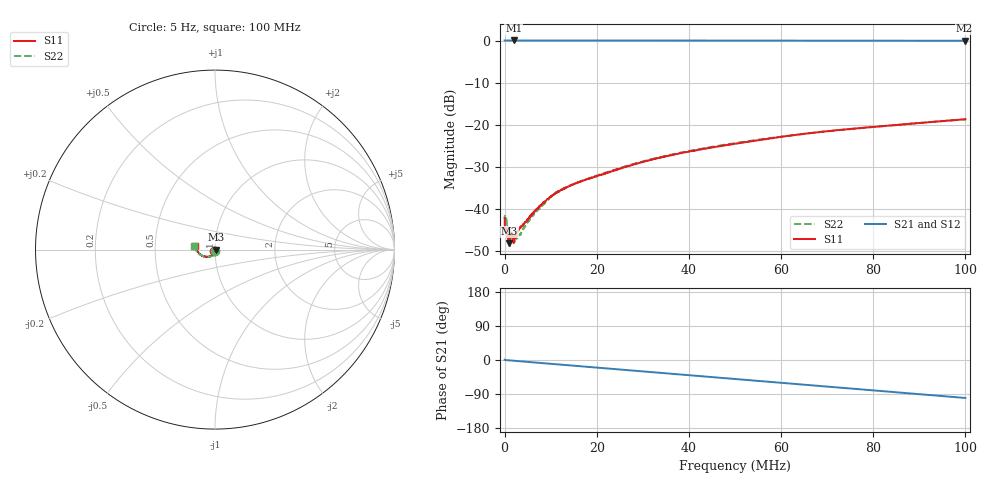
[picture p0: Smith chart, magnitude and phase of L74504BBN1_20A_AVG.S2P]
!Agilent Technologies,E5061B,MY49102235,A.02.00
!Date: Tue Jul 11 15:05:07 2023
!Data & Calibration Information:
!Freq	S11:SOLT2(ON)	S21:SOLT2(ON)	S12:SOLT2(ON)	S22:SOLT2(ON)
# Hz S RI R 50
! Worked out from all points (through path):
!   1600 points, 5 Hz to 100 MHz, reference 50 ohm
!   highest |S21| = 0.02 dB at 2.001 MHz (marker M1); lowest = -0.1 dB at 99.81 MHz (marker M2)
!   group delay of S21, straight-line fit = 2.78 ns
!   lowest |S11| = -48.2 dB at 1.001 MHz (marker M3), VSWR 1.01, Z = 50.4 - j0.0793 ohm
!   |S11| at or under -10 dB: start of sweep to end of sweep
!   |S22| runs from -48.9 to -18.7 dB; largest |S21 - S12| = 0.0026
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5  -0.00525 -0.00565  1.001 0.00803  1 0.0102  -0.00151 -0.00754
437778.6  0.00511 -0.000612  1.001 -0.00529  1.001 -0.00603  0.00661 -0.00225
625395.8  0.00507 -0.000637  1.002 -0.0104  1.002 -0.01  0.0061 -0.00103
1000630  0.0038 -0.000787  1.001 -0.0164  1.001 -0.0161  0.00516 -0.0017
1563482  0.00436 -0.00292  1.001 -0.0262  1.001 -0.0255  0.00316 -0.0035
2001256  0.00304 -0.00285  1.002 -0.0349  1.001 -0.0346  0.00317 -0.00256
2376490  0.00332 -0.00301  0.9998 -0.0412  1 -0.0415  0.00394 -0.00268
3252037  0.00425 -0.00423  0.9994 -0.0567  0.9992 -0.0565  0.00315 -0.00371
4690436  0.00373 -0.00601  0.9977 -0.0817  0.9975 -0.0817  0.00343 -0.00566
6003757  0.00333 -0.00792  0.9954 -0.1046  0.9956 -0.1044  0.00287 -0.00773
9505946  0.00145 -0.0131  0.9872 -0.1656  0.9874 -0.1654  0.000832 -0.0131
1.163227e7  -8.77e-05 -0.0161  0.9804 -0.2021  0.9802 -0.2018  -0.00103 -0.0161
1.669794e7  -0.00394 -0.021  0.9581 -0.288  0.9581 -0.2877  -0.00435 -0.021
2.582865e7  -0.0113 -0.0288  0.9003 -0.4367  0.9001 -0.4365  -0.00921 -0.0301
3.333334e7  -0.02 -0.0348  0.8348 -0.5506  0.8348 -0.5503  -0.0188 -0.0359
5.003127e7  -0.0436 -0.0401  0.6403 -0.7671  0.6403 -0.7669  -0.0439 -0.0412
6.672921e7  -0.0728 -0.0336  0.3916 -0.9175  0.3919 -0.9176  -0.0719 -0.0343
7.53596e7  -0.0861 -0.0241  0.2492 -0.965  0.2493 -0.965  -0.0854 -0.0254
8.33646e7  -0.0968 -0.0116  0.1122 -0.9897  0.1122 -0.9898  -0.0964 -0.0141
9.161976e7  -0.1065 0.00356  -0.0315 -0.9945  -0.0315 -0.9945  -0.1064 -0.000175
9.981238e7  -0.1138 0.0204  -0.1726 -0.9787  -0.1725 -0.979  -0.1142 0.0172
1e8  -0.1141 0.0207  -0.176 -0.9782  -0.1758 -0.9783  -0.1144 0.0174
